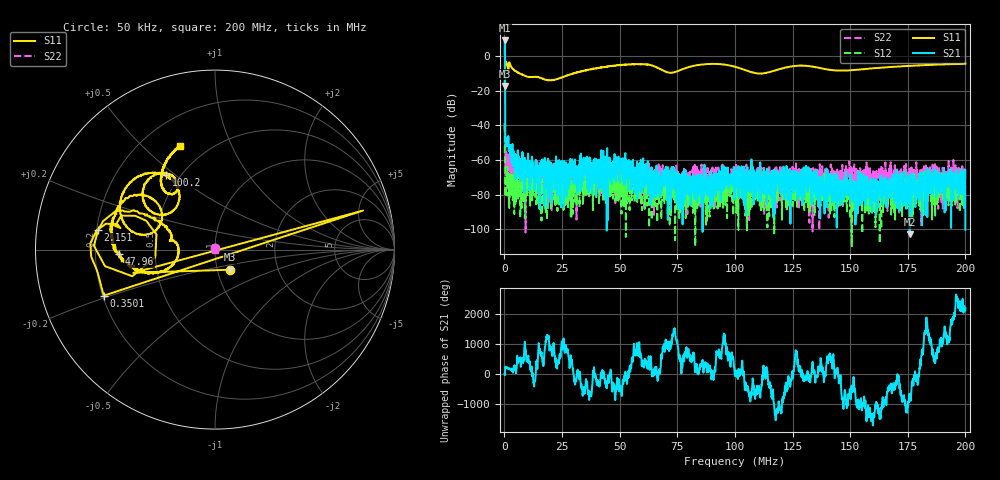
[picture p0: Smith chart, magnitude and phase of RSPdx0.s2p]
! 19-Feb-26 1:43:40 PM
! E:\VNA_MEASUREMENTS\RECBLOCK\RSPDX0.S2P
! CHANNEL.1
! TR.MEASUREMENT
! CORRECTED.DATA
# GHZ S RI R 50.0
! FREQ.GHZ  S11RE  S11IM  S21RE  S21IM  S12RE  S12IM  S22RE  S22IM
!; PortSelection: Port_12
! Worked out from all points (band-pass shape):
!   2000 points, 50 kHz to 200 MHz, reference 50 ohm
!   highest |S21| = 9.19 dB at 150 kHz (marker M1); lowest = -102.9 dB at 175.9 MHz (marker M2)
!   |S21| within 3 dB of the highest: 111 kHz to 190.6 kHz (79.66 kHz wide, 52.8 % of centre)
!   lowest |S11| = -17.1 dB at 50 kHz (marker M3), VSWR 1.33, Z = 57.5 - j13.2 ohm
!   |S11| at or under -10 dB: start of sweep to 116.8 kHz; 6.806 MHz to 29.86 MHz (23.05 MHz wide, 126 % of centre)
!   |S22| runs from -101.9 to -38.6 dB; largest |S21 - S12| = 2.9
!   S11 on the Smith chart (normalised r, x): 50 kHz: 1.15, -0.26; 350.1 kHz: 0.20, -0.19; 2.151 MHz: 0.21, +0.08; 47.96 MHz: 0.30, -0.02; 100.2 MHz: 0.42, +0.46; 200 MHz: 0.36, +0.66
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5e-05  0.0839 -0.1122  1.117 0.4112  -0.00947 0.0037  0.00246 0.0115
0.000150025  -0.4557 -0.1295  2.419 -1.567  -0.00129 0.000473  -0.00884 0.0023
0.000350075  -0.62 -0.2567  -0.00117 -0.00347  -8.73e-05 -0.000178  -0.0023 0.000566
0.001350325  -0.5232 0.1895  -0.00466 -0.000739  2.37e-05 8.94e-05  0.00125 0.000515
0.002150525  -0.6515 0.1074  -0.00252 0.00066  -2.46e-05 8.16e-05  1.08e-05 -8.13e-05
0.007651901  -0.2705 0.1324  -0.000624 0.000128  0.000228 -7.1e-06  -0.000166 -0.00011
0.02745685  -0.264 -0.1041  9.47e-05 0.000245  -0.000252 2.5e-05  -0.000271 0.000136
0.02955738  -0.2914 -0.1225  -0.000421 -0.000359  3.58e-05 -0.000117  8.5e-06 0.00019
0.03345835  -0.3469 -0.1318  -8.28e-05 -0.000158  3.53e-05 0.000166  4e-06 0.000389
0.04796198  -0.5341 -0.0236  0.000643 4.6e-05  -0.000262 -0.000146  -0.000489 0.000334
0.06466616  -0.4264 0.3028  -7.67e-05 0.000382  5.27e-05 -0.000144  -4.68e-05 0.000392
0.06676668  -0.3555 0.2851  0.000365 4.57e-05  -1.27e-05 -0.00022  -0.000309 0.000229
0.07726931  -0.4194 0.0841  -4e-07 -1.38e-05  -0.000129 4.38e-05  -0.000188 -3.5e-06
0.100075  -0.2779 0.4165  0.000226 -0.000424  -6.89e-05 0.000137  -6.2e-05 -0.000175
0.100175  -0.2721 0.4137  -8.23e-05 0.000195  -0.000159 -7.04e-05  0.000115 -2.34e-05
0.1152788  -0.2983 0.1945  -1.67e-05 0.000273  -4.2e-06 4.33e-05  0.000153 -0.000401
0.1333833  -0.2794 0.4247  -0.00033 -0.000209  5.52e-05 -7.93e-05  5.71e-05 5.18e-05
0.1454864  -0.2187 0.319  1e-05 9.82e-05  4.11e-05 -2.63e-05  -4.01e-05 -0.000295
0.1666917  -0.3006 0.3851  4.12e-05 -9.39e-05  -4.32e-05 -9.26e-05  0.000401 7.79e-05
0.175894  -0.2928 0.4425  5.2e-06 4.9e-06  0.00012 9.78e-05  -0.000255 3e-06
0.1925981  -0.2332 0.5441  0.000166 2.63e-05  -7.72e-05 4.2e-05  -0.000515 -0.000112
0.2  -0.1945 0.578  8e-06 5.3e-06  2.05e-05 0.000155  7.33e-05 -0.000242
